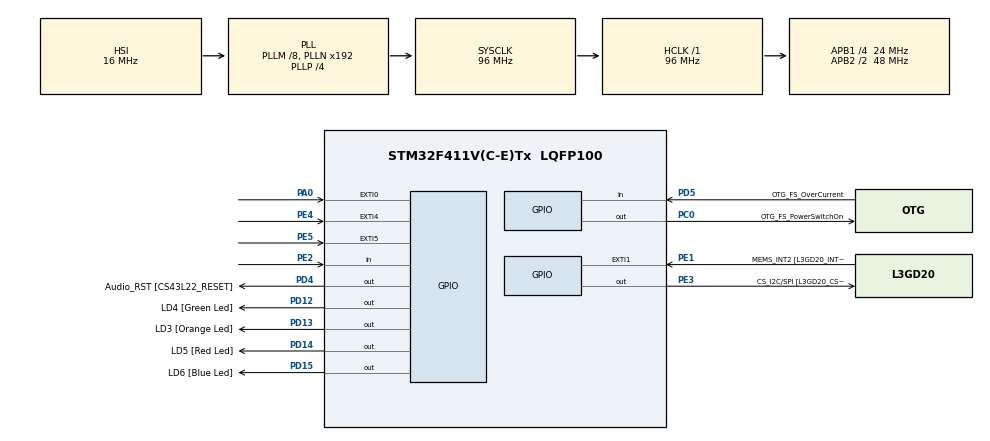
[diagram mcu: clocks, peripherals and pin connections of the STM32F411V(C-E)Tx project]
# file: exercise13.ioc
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FREERTOS.Tasks01=GreenLED,0,128,StartGreenLED,Default,NULL,Dynamic,NULL,NULL;RedLED,0,128,StartRedLED,Default,NULL,Dynamic,NULL,NULL;BlueLED,0,128,StartBlueLED,Default,NULL,Dynamic,NULL,NULL
Mcu.Family=STM32F4
Mcu.Name=STM32F411V(C-E)Tx
Mcu.Package=LQFP100
NVIC.PriorityGroup=NVIC_PRIORITYGROUP_4
NVIC.TIM1_UP_TIM10_IRQn=true\:0\:0\:false\:false\:true\:false\:false\:true
NVIC.TimeBase=TIM1_UP_TIM10_IRQn
NVIC.TimeBaseIP=TIM1
PA0-WKUP.GPIO_ModeDefaultEXTI=GPIO_MODE_EVT_RISING
PA0-WKUP.Signal=GPXTI0
PA10.GPIO_Label=OTG_FS_ID
PA10.Signal=USB_OTG_FS_ID
PA11.GPIO_Label=OTG_FS_DM
PA11.Signal=USB_OTG_FS_DM
PA12.GPIO_Label=OTG_FS_DP
PA12.Signal=USB_OTG_FS_DP
PA13.GPIO_Label=SWDIO
PA13.Signal=SYS_JTMS-SWDIO
PA14.GPIO_Label=SWCLK
PA14.Signal=SYS_JTCK-SWCLK
PA4.GPIO_Label=I2S3_WS [CS43L22_LRCK]
PA4.GPIO_Mode=GPIO_MODE_AF_PP
PA4.GPIO_PuPd=GPIO_NOPULL
PA4.GPIO_Speed=GPIO_SPEED_FREQ_LOW
PA4.Signal=I2S3_WS
PA5.GPIO_Label=SPI1_SCK [L3GD20_SC/SPC]
PA5.Signal=SPI1_SCK
PA6.GPIO_Label=SPI1_MISO [L3GD20_AS0/SDO]
PA6.Signal=SPI1_MISO
PA7.GPIO_Label=SPI1_MOSI [L3GD20_SDA/SDI/SDO]
PA7.Signal=SPI1_MOSI
PA9.GPIO_Label=VBUS_FS
PA9.Signal=USB_OTG_FS_VBUS
PB10.GPIO_Label=CLK_IN [MP45DT02_CLK]
PB10.Signal=I2S2_CK
PB12.Signal=I2S2_WS
PB3.GPIO_Label=SWO
PB3.Signal=SYS_JTDO-SWO
PB6.GPIO_Label=Audio_SCL [CS43L22_SCL]
PB6.GPIO_Mode=GPIO_MODE_AF_OD
PB6.GPIO_PuPd=GPIO_NOPULL
PB6.GPIO_Speed=GPIO_SPEED_FREQ_LOW
PB6.Signal=I2C1_SCL
PB9.GPIO_Label=Audio_SDA [CS43L22_SDA]
PB9.GPIO_Mode=GPIO_MODE_AF_OD
PB9.GPIO_PuPd=GPIO_NOPULL
PB9.GPIO_Speed=GPIO_SPEED_FREQ_LOW
PB9.Signal=I2C1_SDA
PC0.GPIO_Label=OTG_FS_PowerSwitchOn
PC0.PinState=GPIO_PIN_SET
PC0.Signal=GPIO_Output
PC10.GPIO_Label=I2S3_SCK [CS43L22_SCLK]
PC10.GPIO_Mode=GPIO_MODE_AF_PP
PC10.GPIO_PuPd=GPIO_NOPULL
PC10.GPIO_Speed=GPIO_SPEED_FREQ_LOW
PC10.Signal=I2S3_CK
PC12.GPIO_Label=I2S3_SD [CS43L22_SDIN]
PC12.GPIO_Mode=GPIO_MODE_AF_PP
PC12.GPIO_PuPd=GPIO_NOPULL
PC12.GPIO_Speed=GPIO_SPEED_FREQ_LOW
PC12.Signal=I2S3_SD
PC14-OSC32_IN.GPIO_Label=PC14-OSC32_IN
PC14-OSC32_IN.Signal=RCC_OSC32_IN
PC15-OSC32_OUT.GPIO_Label=PC15-OSC32_OUT
PC15-OSC32_OUT.Signal=RCC_OSC32_OUT
PC3.GPIO_Label=PDM_OUT [MP45DT02_DOUT]
PC3.Signal=I2S2_SD
PC7.GPIO_Label=I2S3_MCK [CS43L22_MCLK]
PC7.GPIO_Mode=GPIO_MODE_AF_PP
PC7.GPIO_PuPd=GPIO_NOPULL
PC7.GPIO_Speed=GPIO_SPEED_FREQ_LOW
PC7.Signal=I2S3_MCK
PD12.GPIO_Label=LD4 [Green Led]
PD12.GPIO_PuPd=GPIO_NOPULL
PD12.GPIO_Speed=GPIO_SPEED_FREQ_LOW
PD12.Signal=GPIO_Output
PD13.GPIO_Label=LD3 [Orange Led]
PD13.GPIO_PuPd=GPIO_NOPULL
PD13.GPIO_Speed=GPIO_SPEED_FREQ_LOW
PD13.Signal=GPIO_Output
PD14.GPIO_Label=LD5 [Red Led]
PD14.GPIO_PuPd=GPIO_NOPULL
PD14.GPIO_Speed=GPIO_SPEED_FREQ_LOW
PD14.Signal=GPIO_Output
PD15.GPIO_Label=LD6 [Blue Led]
PD15.GPIO_PuPd=GPIO_NOPULL
PD15.GPIO_Speed=GPIO_SPEED_FREQ_LOW
PD15.Signal=GPIO_Output
PD4.GPIO_Label=Audio_RST [CS43L22_RESET]
PD4.Signal=GPIO_Output
PD5.GPIO_Label=OTG_FS_OverCurrent
PD5.Signal=GPIO_Input
PE1.GPIO_Label=MEMS_INT2 [L3GD20_INT2]
PE1.GPIO_ModeDefaultEXTI=GPIO_MODE_EVT_RISING
PE1.Signal=GPXTI1
PE2.Signal=GPIO_Input
PE3.GPIO_Label=CS_I2C/SPI [L3GD20_CS_I2C/SPI]
PE3.Signal=GPIO_Output
PE4.GPIO_ModeDefaultEXTI=GPIO_MODE_EVT_RISING
PE4.Signal=GPXTI4
PE5.GPIO_ModeDefaultEXTI=GPIO_MODE_EVT_RISING
PE5.Signal=GPXTI5
PH0\ -\ OSC_IN.GPIO_Label=PH0-OSC_IN
PH0\ -\ OSC_IN.Signal=RCC_OSC_IN
PH1\ -\ OSC_OUT.GPIO_Label=PH1-OSC_OUT
PH1\ -\ OSC_OUT.Signal=RCC_OSC_OUT
ProjectManager.HeapSize=0x200
ProjectManager.StackSize=0x400
ProjectManager.TargetToolchain=STM32CubeIDE
RCC.48MHZClocksFreq_Value=48000000
RCC.AHBFreq_Value=96000000
RCC.APB1CLKDivider=RCC_HCLK_DIV4
RCC.APB1Freq_Value=24000000
RCC.APB1TimFreq_Value=48000000
RCC.APB2CLKDivider=RCC_HCLK_DIV2
RCC.APB2Freq_Value=48000000
RCC.APB2TimFreq_Value=96000000
RCC.CortexFreq_Value=96000000
RCC.HCLKFreq_Value=96000000
RCC.HSE_VALUE=8000000
RCC.HSI_VALUE=16000000
RCC.LSE_VALUE=32768
RCC.PLLI2SM=5
RCC.PLLI2SN=200
RCC.PLLM=8
RCC.PLLP=RCC_PLLP_DIV4
RCC.PLLQ=8
RCC.SYSCLKFreq_VALUE=96000000
RCC.SYSCLKSource=RCC_SYSCLKSOURCE_PLLCLK
RCC.VCOOutputFreq_Value=384000000
VP_FREERTOS_VS_CMSIS_V1.Mode=CMSIS_V1
VP_SYS_VS_tim1.Mode=TIM1
board=STM32F411E-DISCO

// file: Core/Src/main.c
/* USER CODE BEGIN Header */
/**
  ******************************************************************************
  * @file           : main.c
  * @brief          : Main program body
  ******************************************************************************
  * @attention
  *
  * <h2><center>&copy; Copyright (c) 2021 STMicroelectronics.
  * All rights reserved.</center></h2>
  *
  * This software component is licensed by ST under BSD 3-Clause license,
  * the "License"; You may not use this file except in compliance with the
  * License. You may obtain a copy of the License at:
  *                        opensource.org/licenses/BSD-3-Clause
  *
  ******************************************************************************
  */
/* USER CODE END Header */

#include "main.h"
#include "cmsis_os.h"
#include "my_flags.h"

#define RED GPIO_PIN_14
#define GREEN GPIO_PIN_12
#define BLUE GPIO_PIN_15

osThreadId GreenLEDHandle;
osThreadId RedLEDHandle;
osThreadId BlueLEDHandle;

void SystemClock_Config(void);
static void MX_GPIO_Init(void);
void StartGreenLED(void const * argument);
void StartRedLED(void const * argument);
void StartBlueLED(void const * argument);

int main(void)
{

  /* MCU Configuration--------------------------------------------------------*/

  /* Reset of all peripherals, Initializes the Flash interface and the Systick. */
  HAL_Init();

  /* Configure the system clock */
  SystemClock_Config();

  /* Initialize all configured peripherals */
  MX_GPIO_Init();

  /* Create the thread(s) */
  /* definition and creation of GreenLED */
  osThreadDef(GreenLED, StartGreenLED, osPriorityNormal, 0, 128);
  GreenLEDHandle = osThreadCreate(osThread(GreenLED), NULL);

  /* definition and creation of RedLED */
  osThreadDef(RedLED, StartRedLED, osPriorityNormal, 0, 128);
  RedLEDHandle = osThreadCreate(osThread(RedLED), NULL);

  /* definition and creation of BlueLED */
  osThreadDef(BlueLED, StartBlueLED, osPriorityNormal, 0, 128);
  BlueLEDHandle = osThreadCreate(osThread(BlueLED), NULL);

  /* Start scheduler */
  osKernelStart();

  /* We should never get here as control is now taken by the scheduler */

  /* Infinite loop */
  while (1)
  {

  }
}

void SystemClock_Config(void)
{
  RCC_OscInitTypeDef RCC_OscInitStruct = {0};
  RCC_ClkInitTypeDef RCC_ClkInitStruct = {0};

  /** Configure the main internal regulator output voltage
  */
  __HAL_RCC_PWR_CLK_ENABLE();
  __HAL_PWR_VOLTAGESCALING_CONFIG(PWR_REGULATOR_VOLTAGE_SCALE1);
  /** Initializes the CPU, AHB and APB busses clocks
  */
  RCC_OscInitStruct.OscillatorType = RCC_OSCILLATORTYPE_HSI;
  RCC_OscInitStruct.HSIState = RCC_HSI_ON;
  RCC_OscInitStruct.HSICalibrationValue = RCC_HSICALIBRATION_DEFAULT;
  RCC_OscInitStruct.PLL.PLLState = RCC_PLL_ON;
  RCC_OscInitStruct.PLL.PLLSource = RCC_PLLSOURCE_HSI;
  RCC_OscInitStruct.PLL.PLLM = 8;
  RCC_OscInitStruct.PLL.PLLN = 192;
  RCC_OscInitStruct.PLL.PLLP = RCC_PLLP_DIV4;
  RCC_OscInitStruct.PLL.PLLQ = 8;
  if (HAL_RCC_OscConfig(&RCC_OscInitStruct) != HAL_OK)
  {
    Error_Handler();
  }
  /** Initializes the CPU, AHB and APB busses clocks
  */
  RCC_ClkInitStruct.ClockType = RCC_CLOCKTYPE_HCLK|RCC_CLOCKTYPE_SYSCLK
                              |RCC_CLOCKTYPE_PCLK1|RCC_CLOCKTYPE_PCLK2;
  RCC_ClkInitStruct.SYSCLKSource = RCC_SYSCLKSOURCE_PLLCLK;
  RCC_ClkInitStruct.AHBCLKDivider = RCC_SYSCLK_DIV1;
  RCC_ClkInitStruct.APB1CLKDivider = RCC_HCLK_DIV4;
  RCC_ClkInitStruct.APB2CLKDivider = RCC_HCLK_DIV2;

  if (HAL_RCC_ClockConfig(&RCC_ClkInitStruct, FLASH_LATENCY_3) != HAL_OK)
  {
    Error_Handler();
  }
}

static void MX_GPIO_Init(void)
{
  GPIO_InitTypeDef GPIO_InitStruct = {0};

  /* GPIO Ports Clock Enable */
  __HAL_RCC_GPIOE_CLK_ENABLE();
  __HAL_RCC_GPIOC_CLK_ENABLE();
  __HAL_RCC_GPIOH_CLK_ENABLE();
  __HAL_RCC_GPIOA_CLK_ENABLE();
  __HAL_RCC_GPIOB_CLK_ENABLE();
  __HAL_RCC_GPIOD_CLK_ENABLE();

  /*Configure GPIO pin Output Level */
  HAL_GPIO_WritePin(CS_I2C_SPI_GPIO_Port, CS_I2C_SPI_Pin, GPIO_PIN_RESET);

  /*Configure GPIO pin Output Level */
  HAL_GPIO_WritePin(OTG_FS_PowerSwitchOn_GPIO_Port, OTG_FS_PowerSwitchOn_Pin, GPIO_PIN_SET);

  /*Configure GPIO pin Output Level */
  HAL_GPIO_WritePin(GPIOD, LD4_Pin|LD3_Pin|LD5_Pin|LD6_Pin
                          |Audio_RST_Pin, GPIO_PIN_RESET);

  /*Configure GPIO pin : PE2 */
  GPIO_InitStruct.Pin = GPIO_PIN_2;
  GPIO_InitStruct.Mode = GPIO_MODE_INPUT;
  GPIO_InitStruct.Pull = GPIO_NOPULL;
  HAL_GPIO_Init(GPIOE, &GPIO_InitStruct);

  /*Configure GPIO pin : CS_I2C_SPI_Pin */
  GPIO_InitStruct.Pin = CS_I2C_SPI_Pin;
  GPIO_InitStruct.Mode = GPIO_MODE_OUTPUT_PP;
  GPIO_InitStruct.Pull = GPIO_NOPULL;
  GPIO_InitStruct.Speed = GPIO_SPEED_FREQ_LOW;
  HAL_GPIO_Init(CS_I2C_SPI_GPIO_Port, &GPIO_InitStruct);

  /*Configure GPIO pins : PE4 PE5 MEMS_INT2_Pin */
  GPIO_InitStruct.Pin = GPIO_PIN_4|GPIO_PIN_5|MEMS_INT2_Pin;
  GPIO_InitStruct.Mode = GPIO_MODE_EVT_RISING;
  GPIO_InitStruct.Pull = GPIO_NOPULL;
  HAL_GPIO_Init(GPIOE, &GPIO_InitStruct);

  /*Configure GPIO pin : OTG_FS_PowerSwitchOn_Pin */
  GPIO_InitStruct.Pin = OTG_FS_PowerSwitchOn_Pin;
  GPIO_InitStruct.Mode = GPIO_MODE_OUTPUT_PP;
  GPIO_InitStruct.Pull = GPIO_NOPULL;
  GPIO_InitStruct.Speed = GPIO_SPEED_FREQ_LOW;
  HAL_GPIO_Init(OTG_FS_PowerSwitchOn_GPIO_Port, &GPIO_InitStruct);

  /*Configure GPIO pin : PDM_OUT_Pin */
  GPIO_InitStruct.Pin = PDM_OUT_Pin;
  GPIO_InitStruct.Mode = GPIO_MODE_AF_PP;
  GPIO_InitStruct.Pull = GPIO_NOPULL;
  GPIO_InitStruct.Speed = GPIO_SPEED_FREQ_LOW;
  GPIO_InitStruct.Alternate = GPIO_AF5_SPI2;
  HAL_GPIO_Init(PDM_OUT_GPIO_Port, &GPIO_InitStruct);

  /*Configure GPIO pin : PA0 */
  GPIO_InitStruct.Pin = GPIO_PIN_0;
  GPIO_InitStruct.Mode = GPIO_MODE_EVT_RISING;
  GPIO_InitStruct.Pull = GPIO_NOPULL;
  HAL_GPIO_Init(GPIOA, &GPIO_InitStruct);

  /*Configure GPIO pin : I2S3_WS_Pin */
  GPIO_InitStruct.Pin = I2S3_WS_Pin;
  GPIO_InitStruct.Mode = GPIO_MODE_AF_PP;
  GPIO_InitStruct.Pull = GPIO_NOPULL;
  GPIO_InitStruct.Speed = GPIO_SPEED_FREQ_LOW;
  GPIO_InitStruct.Alternate = GPIO_AF6_SPI3;
  HAL_GPIO_Init(I2S3_WS_GPIO_Port, &GPIO_InitStruct);

  /*Configure GPIO pins : SPI1_SCK_Pin SPI1_MISO_Pin SPI1_MOSI_Pin */
  GPIO_InitStruct.Pin = SPI1_SCK_Pin|SPI1_MISO_Pin|SPI1_MOSI_Pin;
  GPIO_InitStruct.Mode = GPIO_MODE_AF_PP;
  GPIO_InitStruct.Pull = GPIO_NOPULL;
  GPIO_InitStruct.Speed = GPIO_SPEED_FREQ_VERY_HIGH;
  GPIO_InitStruct.Alternate = GPIO_AF5_SPI1;
  HAL_GPIO_Init(GPIOA, &GPIO_InitStruct);

  /*Configure GPIO pins : CLK_IN_Pin PB12 */
  GPIO_InitStruct.Pin = CLK_IN_Pin|GPIO_PIN_12;
  GPIO_InitStruct.Mode = GPIO_MODE_AF_PP;
  GPIO_InitStruct.Pull = GPIO_NOPULL;
  GPIO_InitStruct.Speed = GPIO_SPEED_FREQ_LOW;
  GPIO_InitStruct.Alternate = GPIO_AF5_SPI2;
  HAL_GPIO_Init(GPIOB, &GPIO_InitStruct);

  /*Configure GPIO pins : LD4_Pin LD3_Pin LD5_Pin LD6_Pin
                           Audio_RST_Pin */
  GPIO_InitStruct.Pin = LD4_Pin|LD3_Pin|LD5_Pin|LD6_Pin
                          |Audio_RST_Pin;
  GPIO_InitStruct.Mode = GPIO_MODE_OUTPUT_PP;
  GPIO_InitStruct.Pull = GPIO_NOPULL;
  GPIO_InitStruct.Speed = GPIO_SPEED_FREQ_LOW;
  HAL_GPIO_Init(GPIOD, &GPIO_InitStruct);

  /*Configure GPIO pins : I2S3_MCK_Pin I2S3_SCK_Pin I2S3_SD_Pin */
  GPIO_InitStruct.Pin = I2S3_MCK_Pin|I2S3_SCK_Pin|I2S3_SD_Pin;
  GPIO_InitStruct.Mode = GPIO_MODE_AF_PP;
  GPIO_InitStruct.Pull = GPIO_NOPULL;
  GPIO_InitStruct.Speed = GPIO_SPEED_FREQ_LOW;
  GPIO_InitStruct.Alternate = GPIO_AF6_SPI3;
  HAL_GPIO_Init(GPIOC, &GPIO_InitStruct);

  /*Configure GPIO pin : VBUS_FS_Pin */
  GPIO_InitStruct.Pin = VBUS_FS_Pin;
  GPIO_InitStruct.Mode = GPIO_MODE_INPUT;
  GPIO_InitStruct.Pull = GPIO_NOPULL;
  HAL_GPIO_Init(VBUS_FS_GPIO_Port, &GPIO_InitStruct);

  /*Configure GPIO pins : OTG_FS_ID_Pin OTG_FS_DM_Pin OTG_FS_DP_Pin */
  GPIO_InitStruct.Pin = OTG_FS_ID_Pin|OTG_FS_DM_Pin|OTG_FS_DP_Pin;
  GPIO_InitStruct.Mode = GPIO_MODE_AF_PP;
  GPIO_InitStruct.Pull = GPIO_NOPULL;
  GPIO_InitStruct.Speed = GPIO_SPEED_FREQ_VERY_HIGH;
  GPIO_InitStruct.Alternate = GPIO_AF10_OTG_FS;
  HAL_GPIO_Init(GPIOA, &GPIO_InitStruct);

  /*Configure GPIO pin : OTG_FS_OverCurrent_Pin */
  GPIO_InitStruct.Pin = OTG_FS_OverCurrent_Pin;
  GPIO_InitStruct.Mode = GPIO_MODE_INPUT;
  GPIO_InitStruct.Pull = GPIO_NOPULL;
  HAL_GPIO_Init(OTG_FS_OverCurrent_GPIO_Port, &GPIO_InitStruct);

  /*Configure GPIO pins : Audio_SCL_Pin Audio_SDA_Pin */
  GPIO_InitStruct.Pin = Audio_SCL_Pin|Audio_SDA_Pin;
  GPIO_InitStruct.Mode = GPIO_MODE_AF_OD;
  GPIO_InitStruct.Pull = GPIO_PULLUP;
  GPIO_InitStruct.Speed = GPIO_SPEED_FREQ_LOW;
  GPIO_InitStruct.Alternate = GPIO_AF4_I2C1;
  HAL_GPIO_Init(GPIOB, &GPIO_InitStruct);

}

void StartGreenLED(void const * argument)
{
  /* USER CODE BEGIN 5 */
  /* Infinite loop */
  for(;;)
  {
    for(int i = 0; i < 100*2; i++){
    	HAL_GPIO_TogglePin(GPIOD, GREEN);
    	osDelay(50);
    }

    Set_Flag(1);

    for(int i = 0; i < 10*2; i++){
    	HAL_GPIO_TogglePin(GPIOD, GREEN);
    	osDelay(500);
    }

    Reset_Flag(1);

    for(int i = 0; i < 100*2; i++){
    	HAL_GPIO_TogglePin(GPIOD, GREEN);
    	osDelay(50);
    }

    vTaskSuspend(NULL);
  }
  /* USER CODE END 5 */
}

void StartRedLED(void const * argument)
{
  /* USER CODE BEGIN StartRedLED */
  /* Infinite loop */
	for(;;)
	  {
	    for(int i = 0; i < 150*2; i++){
	    	HAL_GPIO_TogglePin(GPIOD, RED);
	    	osDelay(50);
	    }

	    Set_Flag(2);

	    for(int i = 0; i < 10*2; i++){
	    	HAL_GPIO_TogglePin(GPIOD, RED);
	    	osDelay(500);
	    }

	    Reset_Flag(2);

	    for(int i = 0; i < 50*2; i++){
	    	HAL_GPIO_TogglePin(GPIOD, RED);
	    	osDelay(50);
	    }

	    vTaskSuspend(NULL);
	  }
  /* USER CODE END StartRedLED */
}

void StartBlueLED(void const * argument)
{
  /* USER CODE BEGIN StartBlueLED */
  /* Infinite loop */
  for(;;)
  {
    if(Check_Flag(1) == Set && Check_Flag(2) == Set){
    	HAL_GPIO_TogglePin(GPIOD, BLUE);
    	osDelay(500);
    }else{
    	HAL_GPIO_TogglePin(GPIOD, BLUE);
    	osDelay(50);
    }
  }
  /* USER CODE END StartBlueLED */
}

void HAL_TIM_PeriodElapsedCallback(TIM_HandleTypeDef *htim)
{
  if (htim->Instance == TIM1) {
    HAL_IncTick();
  }
}

void Error_Handler(void)
{
}

/************************ (C) COPYRIGHT STMicroelectronics *****END OF FILE****/
